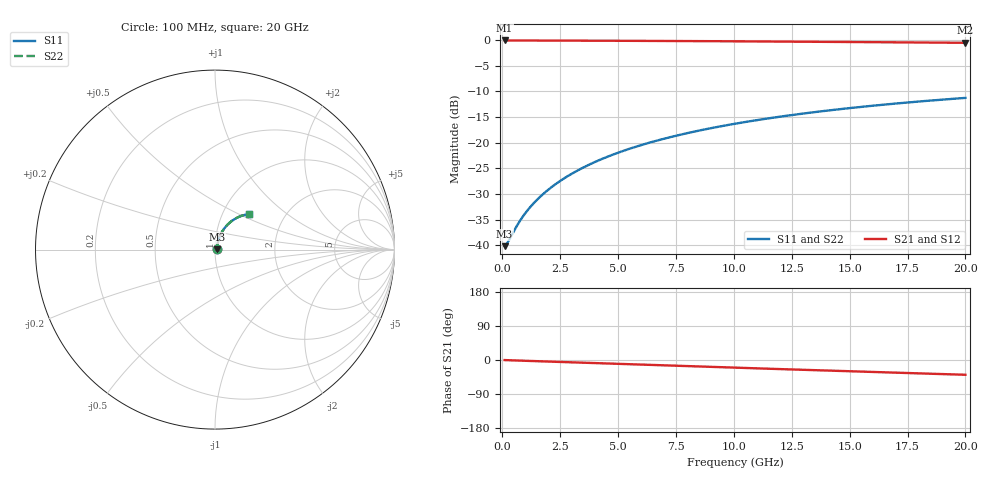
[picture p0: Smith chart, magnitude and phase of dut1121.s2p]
! Touchstone file exported from HFSS 2026.1.0
!  File:  C:/ffzhzh/LocalFiles/Ansys_Project_Files/temp_train_BSMRDL_1121_1783175141_51560.aedt
!  Generated:  10:26:53 PM Jul  4, 2026
!  Design:  BSMRDL
!  Project:  temp_train_BSMRDL_1121_1783175141_51560
! Variables:
!  h_bsmrdl = 2.36um
!  h_ox = 20um
!  h_rdl = 5um
!  h_sub = 80um
!  h_tmrdl = 5um
!  h_tsv = 80um
!  h_via = 3um
!  l_bsmrdl = 650.87um
!  l_sub = 1050.87um
!  l_tmrdl = 200um
!  m_sub = 200um
!  pitch = 17.65um
!  r_tsv = 6um
!  s_tmrdl = 10um
!  w_bsmrdl = 10.05um
!  w_sub = 500um
!  w_tmrdl = 12um
!  x_tsv_center1 = 206um
!  x_tsv_center2 = 866.92um
!  x_tsv_center3 = 1078.92um
!  x_tsv_center4 = 1739.84um
!  x_tsv_center5 = 1951.84um
!  x_tsv_center6 = 2612.76um
# GHz S MA R 50.000000
! Terminal data exported
! Port[1] = BSM_RDL1_1_T1
! Port[2] = BSM_RDL1_1_T2
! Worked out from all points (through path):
!   200 points, 100 MHz to 20 GHz, reference 50 ohm
!   highest |S21| = -0.08 dB at 100 MHz (marker M1); lowest = -0.5 dB at 20 GHz (marker M2)
!   group delay of S21, straight-line fit = 5.41 ps
!   lowest |S11| = -40.1 dB at 100 MHz (marker M3), VSWR 1.02, Z = 51 + j0.189 ohm
!   |S11| at or under -10 dB: start of sweep to end of sweep
!   |S22| runs from -40.1 to -11.3 dB; largest |S21 - S12| = 2.7e-15
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0.1  0.009834 10.9  0.9903 -0.2  0.9903 -0.2  0.009834 10.9
! Gamma 0 0 0 0
! Port Impedance 50 0 50 0
0.2  0.01044 20.7  0.9903 -0.4  0.9903 -0.4  0.01044 20.7
0.3  0.01136 29.0  0.9901 -0.7  0.9901 -0.7  0.01136 29.0
0.6  0.01509 44.9  0.9895 -1.3  0.9895 -1.3  0.01509 44.9
0.9  0.01929 53.2  0.9888 -1.9  0.9888 -1.9  0.01929 53.2
1.2  0.02355 58.2  0.9883 -2.5  0.9883 -2.5  0.02355 58.2
1.5  0.02785 61.6  0.9878 -3.1  0.9878 -3.1  0.02785 61.6
1.9  0.03363 64.7  0.9873 -3.9  0.9873 -3.9  0.03363 64.7
2.4  0.04097 67.2  0.9867 -5.0  0.9867 -5.0  0.04097 67.2
2.9  0.0484 68.7  0.9861 -6.0  0.9861 -6.0  0.0484 68.7
3.5  0.05739 69.6  0.9854 -7.2  0.9854 -7.2  0.05738 69.7
4.2  0.06791 70.0  0.9844 -8.6  0.9844 -8.6  0.06791 70.1
5  0.07993 69.9  0.9831 -10.2  0.9831 -10.2  0.07993 69.9
5.9  0.09337 69.3  0.9815 -12.0  0.9815 -12.0  0.09337 69.3
6.8  0.1067 68.3  0.9797 -13.8  0.9797 -13.8  0.1067 68.3
8.3  0.1284 66.3  0.9763 -16.8  0.9763 -16.8  0.1284 66.3
10.1  0.1538 63.5  0.9716 -20.3  0.9716 -20.3  0.1538 63.5
11.7  0.1754 60.8  0.9669 -23.4  0.9669 -23.4  0.1754 60.9
13.4  0.1975 57.9  0.9617 -26.7  0.9617 -26.7  0.1975 58.0
15  0.2173 55.1  0.9565 -29.7  0.9565 -29.7  0.2173 55.2
16.7  0.2374 52.1  0.9508 -32.9  0.9508 -32.9  0.2374 52.2
20  0.2732 46.4  0.9396 -39.0  0.9396 -39.0  0.2732 46.5
